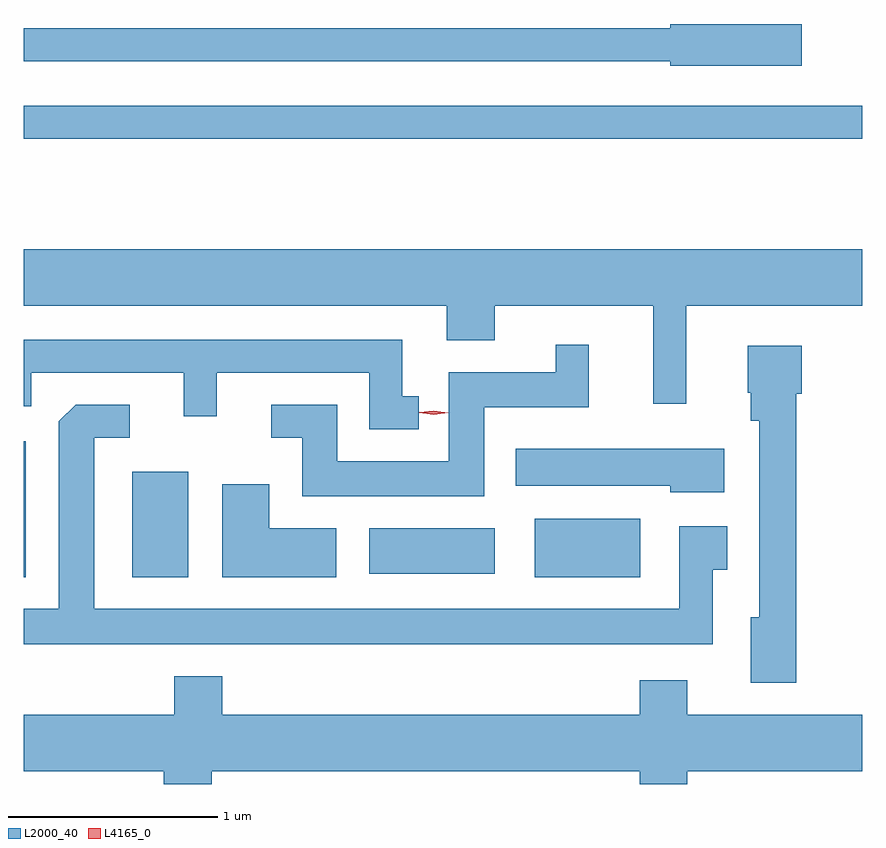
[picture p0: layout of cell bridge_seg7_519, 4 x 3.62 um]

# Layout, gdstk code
import gdstk
lib = gdstk.Library(unit=1e-6, precision=1e-09)
def R(c, l, rs):  # rectangles x0, y0, x1, y1
    for r in rs: c.add(gdstk.rectangle(r[:2], r[2:], *l))
def P(c, l, *ps):  # polygons
    for p in ps: c.add(gdstk.Polygon(p, *l))
L2000_40 = (2000, 40)
L4165_0 = (4165, 0)

bridge_seg7_519 = lib.new_cell('bridge_seg7_519')
R(bridge_seg7_519, L2000_40, [(850.063,1784.061,850.074,1784.709), (850.581,1784.061,850.849,1784.564), (852.501,1784.061,853.004,1784.339), (851.711,1784.076,852.309,1784.294), (850.063,1786.151,854.063,1786.309)])
P(bridge_seg7_519, L2000_40, [(853.774,1786.699),(853.146,1786.699),(853.146,1786.679),(850.063,1786.679),(850.063,1786.521),(853.146,1786.521),(853.146,1786.501),(853.774,1786.501)],
  [(853.224,1785.356),(854.063,1785.356),(854.063,1785.624),(850.063,1785.624),(850.063,1785.356),(852.081,1785.356),(852.081,1785.191),(852.309,1785.191),(852.309,1785.356),(853.066,1785.356),(853.066,1784.888),(853.224,1784.888)],
  [(851.948,1784.924),(851.869,1784.924),(851.869,1785.194),(850.063,1785.194),(850.063,1784.876),(850.099,1784.876),(850.099,1785.036),(850.826,1785.036),(850.826,1784.828),(850.984,1784.828),(850.984,1785.036),(851.711,1785.036),(851.711,1784.766),(851.948,1784.766)],
  [(852.259,1784.871),(852.759,1784.871),(852.759,1785.168),(852.601,1785.168),(852.601,1785.039),(852.091,1785.039),(852.091,1784.614),(851.559,1784.614),(851.559,1784.884),(851.243,1784.884),(851.243,1784.726),(851.391,1784.726),(851.391,1784.446),(852.259,1784.446)],
  [(853.749,1784.936),(853.774,1784.936),(853.774,1785.164),(853.516,1785.164),(853.516,1784.94),(853.531,1784.94),(853.531,1784.806),(853.571,1784.806),(853.571,1783.869),(853.531,1783.869),(853.531,1783.556),(853.749,1783.556)],
  [(853.349,1784.096),(853.419,1784.096),(853.419,1784.304),(853.191,1784.304),(853.191,1783.909),(850.399,1783.909),(850.399,1784.726),(850.568,1784.726),(850.568,1784.884),(850.312,1784.884),(850.231,1784.804),(850.231,1783.909),(850.063,1783.909),(850.063,1783.741),(853.349,1783.741)],
  [(853.404,1784.674),(852.411,1784.674),(852.411,1784.496),(853.146,1784.496),(853.146,1784.466),(853.404,1784.466)],
  [(851.554,1784.294),(851.234,1784.294),(851.234,1784.504),(851.011,1784.504),(851.011,1784.061),(851.554,1784.061)],
  [(850.959,1783.136),(853.001,1783.136),(853.001,1783.074),(853.229,1783.074),(853.229,1783.136),(854.063,1783.136),(854.063,1783.404),(853.229,1783.404),(853.229,1783.569),(853.001,1783.569),(853.001,1783.404),(851.009,1783.404),(851.009,1783.589),(850.781,1783.589),(850.781,1783.404),(850.063,1783.404),(850.063,1783.136),(850.731,1783.136),(850.731,1783.074),(850.959,1783.074)])
P(bridge_seg7_519, L4165_0, [(852.018,1784.835),(851.949,1784.844),(851.949,1784.845),(851.949,1784.846),(852.018,1784.855),(852.088,1784.845),(852.088,1784.844),(852.088,1784.844)])

lib.write_gds('bridge_seg7_519.gds')
